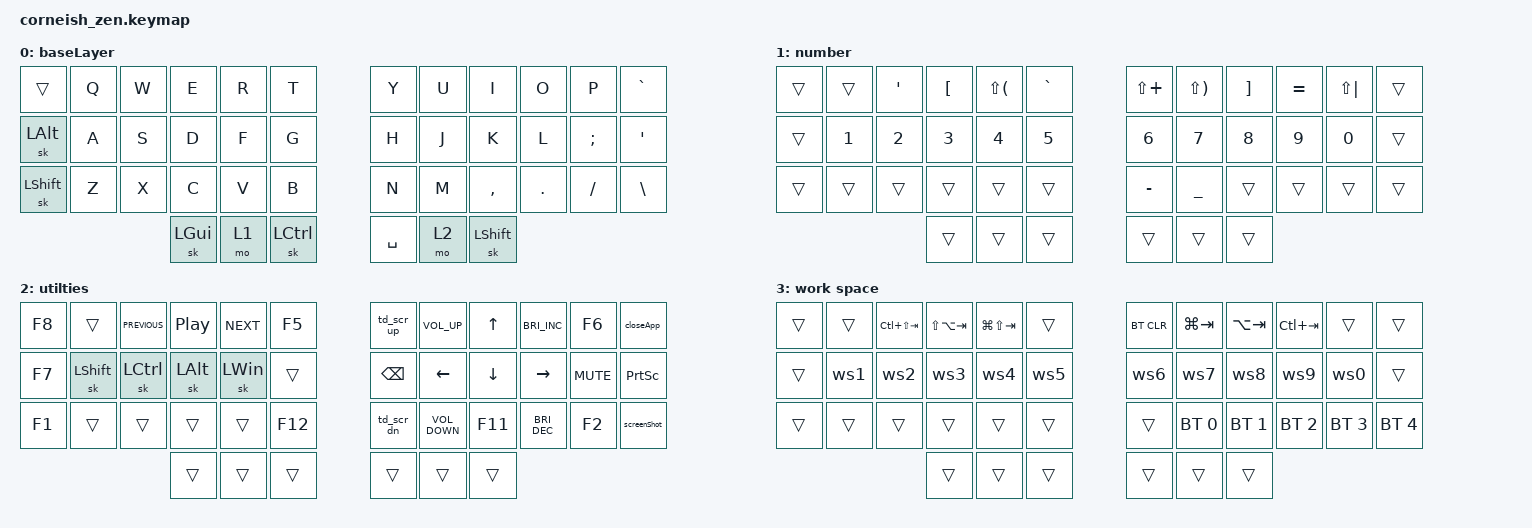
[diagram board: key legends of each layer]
/*
 * Copyright (c) 2020 The ZMK Contributors
 *
 * SPDX-License-Identifier: MIT
 */

#include <behaviors.dtsi>
#include <dt-bindings/zmk/bt.h>
#include <dt-bindings/zmk/keys.h>

/ {
    chosen {
        zmk,matrix_transform = &default_transform;

        // zmk,matrix_transform = &five_column_transform;
    };
};

/ {
    behaviors {
        td_scr_dn: td_scr_dn {
            compatible = "zmk,behavior-tap-dance";
            label = "TD_SCR_DN";
            #binding-cells = <0>;
            bindings = <&kp PAGE_DOWN>, <&kp END>;
        };

        td_scr_up: td_scr_up {
            compatible = "zmk,behavior-tap-dance";
            label = "TD_SCR_UP";
            #binding-cells = <0>;
            bindings = <&kp PG_UP>, <&kp HOME>;
        };

        ws0: ws0 {
            compatible = "zmk,behavior-tap-dance";
            label = "WS0";
            #binding-cells = <0>;
            bindings = <&kp LA(NUMBER_0)>, <&kp LS(LA(N0))>;
        };

        ws1: ws1 {
            compatible = "zmk,behavior-tap-dance";
            label = "WS1";
            #binding-cells = <0>;
            bindings = <&kp LA(NUMBER_1)>, <&kp LS(LA(NUMBER_1))>;
        };

        ws2: ws2 {
            compatible = "zmk,behavior-tap-dance";
            label = "WS2";
            #binding-cells = <0>;
            bindings = <&kp LA(NUMBER_2)>, <&kp LS(LA(NUMBER_2))>;
        };

        ws3: ws3 {
            compatible = "zmk,behavior-tap-dance";
            label = "WS3";
            #binding-cells = <0>;
            bindings = <&kp LA(NUMBER_3)>, <&kp LS(LA(NUMBER_3))>;
        };

        ws4: ws4 {
            compatible = "zmk,behavior-tap-dance";
            label = "WS4";
            #binding-cells = <0>;
            bindings = <&kp LA(NUMBER_4)>, <&kp LS(LA(NUMBER_4))>;
        };

        ws5: ws5 {
            compatible = "zmk,behavior-tap-dance";
            label = "WS5";
            #binding-cells = <0>;
            bindings = <&kp LA(N5)>, <&kp LS(LA(N5))>;
        };

        ws6: ws6 {
            compatible = "zmk,behavior-tap-dance";
            label = "WS6";
            #binding-cells = <0>;
            bindings = <&kp LA(NUMBER_6)>, <&kp LS(LA(NUMBER_6))>;
        };

        ws7: ws7 {
            compatible = "zmk,behavior-tap-dance";
            label = "WS7";
            #binding-cells = <0>;
            bindings = <&kp LA(N7)>, <&kp LS(LA(N7))>;

            tapping-term-ms = <220>;
        };

        ws8: ws8 {
            compatible = "zmk,behavior-tap-dance";
            label = "WS8";
            #binding-cells = <0>;
            bindings = <&kp LA(N8)>, <&kp LS(LA(N8))>;
        };

        ws9: ws9 {
            compatible = "zmk,behavior-tap-dance";
            label = "WS9";
            #binding-cells = <0>;
            bindings = <&kp LA(N9)>, <&kp LS(LA(N9))>;
        };

        screenShot: screenShot {
            compatible = "zmk,behavior-tap-dance";
            label = "SCREENSHOT";
            #binding-cells = <0>;
            bindings = <&kp PRINTSCREEN>, <&kp LG(LS(N5))>;
        };

        closeApp: closeApp {
            compatible = "zmk,behavior-tap-dance";
            label = "CLOSEAPP";
            #binding-cells = <0>;
            bindings = <&kp F4>, <&kp LA(F4)>;
        };

        nws0: nws0 {
            compatible = "zmk,behavior-tap-dance";
            label = "NWS0";
            #binding-cells = <0>;
            bindings = <&kp LC(NUMBER_0)>, <&kp LS(LC(N0))>;
        };

        nws1: nws1 {
            compatible = "zmk,behavior-tap-dance";
            label = "NWS1";
            #binding-cells = <0>;
            bindings = <&kp LC(NUMBER_1)>, <&kp LS(LC(NUMBER_1))>;
        };

        nws2: nws2 {
            compatible = "zmk,behavior-tap-dance";
            label = "NWS2";
            #binding-cells = <0>;
            bindings = <&kp LC(NUMBER_2)>, <&kp LS(LC(NUMBER_2))>;
        };

        nws3: nws3 {
            compatible = "zmk,behavior-tap-dance";
            label = "NWS3";
            #binding-cells = <0>;
            bindings = <&kp LC(NUMBER_3)>, <&kp LS(LC(NUMBER_3))>;
        };

        nws4: nws4 {
            compatible = "zmk,behavior-tap-dance";
            label = "NWS4";
            #binding-cells = <0>;
            bindings = <&kp LC(NUMBER_4)>, <&kp LC(LS(NUMBER_4))>;
        };

        nws5: nws5 {
            compatible = "zmk,behavior-tap-dance";
            label = "NWS5";
            #binding-cells = <0>;
            bindings = <&kp LC(N5)>, <&kp LS(LC(N5))>;
        };

        nws6: nws6 {
            compatible = "zmk,behavior-tap-dance";
            label = "NWS6";
            #binding-cells = <0>;
            bindings = <&kp LC(NUMBER_6)>, <&kp LS(LC(NUMBER_6))>;
        };

        nws7: nws7 {
            compatible = "zmk,behavior-tap-dance";
            label = "NWS7";
            #binding-cells = <0>;
            bindings = <&kp LC(N7)>, <&kp LS(LC(N7))>;
        };

        nws8: nws8 {
            compatible = "zmk,behavior-tap-dance";
            label = "NWS8";
            #binding-cells = <0>;
            bindings = <&kp LC(N8)>, <&kp LS(LC(N8))>;
        };

        nws9: nws9 {
            compatible = "zmk,behavior-tap-dance";
            label = "NWS9";
            #binding-cells = <0>;
            bindings = <&kp LC(N9)>, <&kp LS(LC(N9))>;
        };
    };

    combos {
        compatible = "zmk,combos";

        esc_key {
            bindings = <&kp ESCAPE>;
            key-positions = <19 20>;
        };

        tab_key {
            bindings = <&kp TAB>;
            key-positions = <7 8>;
        };

        ent_combo {
            bindings = <&kp ENTER>;
            key-positions = <31 32>;
        };

        game_esc {
            bindings = <&kp ESC>;
            key-positions = <14 13 15 12>;
        };
    };

    keymap {
        compatible = "zmk,keymap";

        base {
            display-name = "baseLayer";

            // --------------------------------------------------------------------------------
            // |  TAB |  Q  |  W  |  E  |  R  |  T  |   |  Y  |  U   |  I  |  O  |  P  | BKSP |
            // | CTRL |  A  |  S  |  D  |  F  |  G  |   |  H  |  J   |  K  |  L  |  ;  |  '   | 
            // | SHFT |  Z  |  X  |  C  |  V  |  B  |   |  N  |  M   |  ,  |  .  |  /  | ESC  |
            //                    | GUI | LWR | SPC |   | ENT | RSE  | ALT |

            bindings = <
&trans          &kp Q  &kp W  &kp E     &kp R  &kp T        &kp Y      &kp U  &kp I       &kp O    &kp P     &kp GRAVE
&sk LEFT_ALT    &kp A  &kp S  &kp D     &kp F  &kp G        &kp H      &kp J  &kp K       &kp L    &kp SEMI  &kp SINGLE_QUOTE
&sk LEFT_SHIFT  &kp Z  &kp X  &kp C     &kp V  &kp B        &kp N      &kp M  &kp COMMA   &kp DOT  &kp FSLH  &kp BACKSLASH
                              &sk LGUI  &mo 1  &sk LCTRL    &kp SPACE  &mo 2  &sk LSHIFT
            >;
        };

        num {
            display-name = "number";

            // -----------------------------------------------------------------------------------------
            // |  TAB |  !  |  @  |  #  |  $  |  %  |   |  ^  |  &  |  *  |  (  |  )  | BKSP |
            // | CTRL |     |     |     |     |     |   |  -  |  =  |  [  |  ]  |  \  |  `   |
            // | SHFT |     |     |     |     |     |   |  _  |  +  |  {  |  }  | "|" |  ~   |
            //                    | GUI |     | SPC |   | ENT |     | ALT |

            bindings = <
&trans  &trans  &kp APOS  &kp LBKT  &kp LS(LPAR)  &kp GRAVE    &kp LS(PLUS)  &kp LS(RPAR)    &kp RBKT  &kp EQUAL  &kp LS(PIPE)  &trans
&trans  &kp N1  &kp N2    &kp N3    &kp N4        &kp N5       &kp N6        &kp N7          &kp N8    &kp N9     &kp N0        &trans
&trans  &trans  &trans    &trans    &trans        &trans       &kp MINUS     &kp UNDERSCORE  &trans    &trans     &trans        &trans
                          &trans    &trans        &trans       &trans        &trans          &trans
            >;
        };

        util {
            display-name = "utilties";
            bindings = <
&kp F8  &trans          &kp C_PREVIOUS  &kp C_PP      &kp C_NEXT    &kp F5     &td_scr_up  &kp C_VOLUME_UP    &kp UP    &kp C_BRIGHTNESS_INC  &kp F6      &closeApp
&kp F7  &sk LEFT_SHIFT  &sk LCTRL       &sk LEFT_ALT  &sk LEFT_WIN  &trans     &kp BSPC    &kp LEFT           &kp DOWN  &kp RIGHT             &kp C_MUTE  &kp PRINTSCREEN
&kp F1  &trans          &trans          &trans        &trans        &kp F12    &td_scr_dn  &kp C_VOLUME_DOWN  &kp F11   &kp C_BRIGHTNESS_DEC  &kp F2      &screenShot
                                        &trans        &trans        &trans     &trans      &trans             &trans
            >;

            label = "utility";
        };

        ws {
            bindings = <
&trans  &trans  &kp LC(LS(TAB))  &kp LS(LA(TAB))  &kp LG(LS(TAB))  &trans    &bt BT_CLR  &kp LG(TAB)   &kp LA(TAB)   &kp LC(TAB)   &trans        &trans
&trans  &ws1    &ws2             &ws3             &ws4             &ws5      &ws6        &ws7          &ws8          &ws9          &ws0          &trans
&trans  &trans  &trans           &trans           &trans           &trans    &trans      &bt BT_SEL 0  &bt BT_SEL 1  &bt BT_SEL 2  &bt BT_SEL 3  &bt BT_SEL 4
                                 &trans           &trans           &trans    &trans      &trans        &trans
            >;

            label = "work space";
        };
    };

    conditional_layers {
        compatible = "zmk,conditional-layers";

        ws_activate {
            if-layers = <2 1>;
            then-layer = <3>;
        };
    };
};
